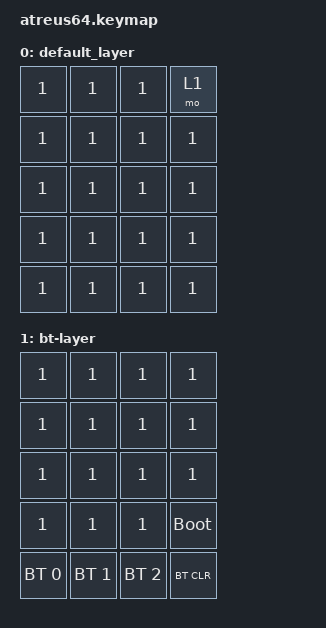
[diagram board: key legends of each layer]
#include<behaviors.dtsi>
#include<dt-bindings/zmk/keys.h>
$include<dt-bindings/zmk/bt.h>

/   {
    keymap{
        compatible = "zmk,keymap";

        default_layer{
            bindings = <
                &kp N1      &kp N1      &kp N1      &mo 1      
                &kp N1      &kp N1      &kp N1      &kp N1      
                &kp N1      &kp N1      &kp N1      &kp N1      
                &kp N1      &kp N1      &kp N1      &kp N1      
                &kp N1      &kp N1      &kp N1      &kp N1      
            >;
        };

        bt-layer{
            bindings = <
                &kp N1          &kp N1          &kp N1          &kp N1      
                &kp N1          &kp N1          &kp N1          &kp N1      
                &kp N1          &kp N1          &kp N1          &kp N1      
                &kp N1          &kp N1          &kp N1          &bootloader      
                &bt BT_SEL 0    &bt BT_SEL 1    &bt BT_SEL 2    &bt BT_CLR      
            >;
        };
    };
};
